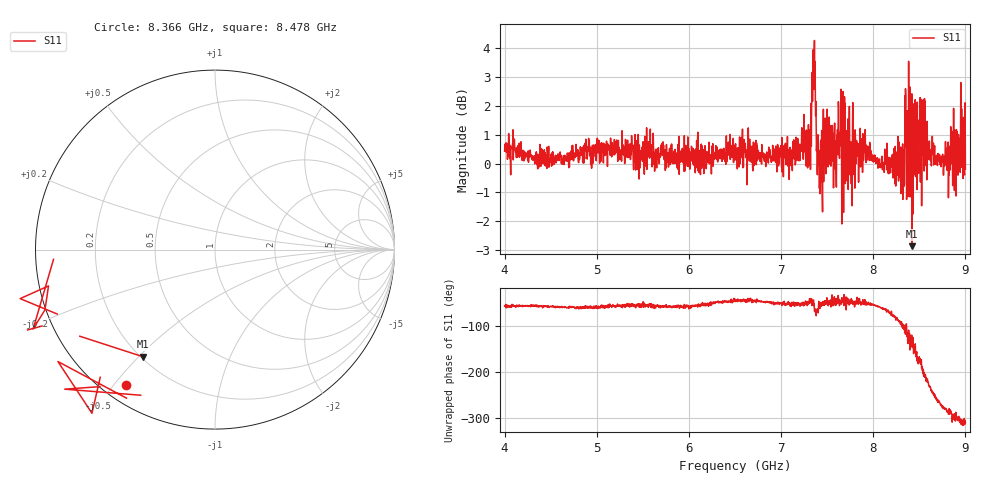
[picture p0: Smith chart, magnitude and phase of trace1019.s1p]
! Created with skrf 1.8.0 (http://scikit-rf.org).
# Hz S RI R 50.0
!freq ReS11 ImS11
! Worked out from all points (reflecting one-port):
!   1601 points, 4 GHz to 9 GHz, reference 50 ohm
!   lowest |S11| = -2.9 dB at 8.422 GHz (marker M1), VSWR 6.12, Z = 10.4 - j25.7 ohm
!   phase of S11 starts at -57 deg and turns -254 deg over the sweep
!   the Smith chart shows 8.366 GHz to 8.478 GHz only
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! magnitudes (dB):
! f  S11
! 4 GHz  0.4
! 4.625 GHz  0.0
! 5.25 GHz  0.1
! 5.875 GHz  0.1
! 6.5 GHz  0.6
! 7.125 GHz  0.5
! 7.294 GHz  1.0
! 7.356 GHz  2.6
! 7.4 GHz  1.0
! 7.428 GHz  0.7
! 7.481 GHz  0.0
! 7.588 GHz  0.7
! 7.631 GHz  0.4
! 7.688 GHz  2.3
! 7.75 GHz  0.1
! 7.891 GHz  0.6
! 8.312 GHz  0.5
! 8.334 GHz  0.3
! 8.375 GHz  1.4
! 8.394 GHz  -0.8
! 8.412 GHz  0.6
! 8.422 GHz  -2.9
! 8.544 GHz  2.2
! 8.597 GHz  0.4
! 8.681 GHz  0.0
! 8.841 GHz  1.3
! 8.972 GHz  0.4
! 9 GHz  -0.2
